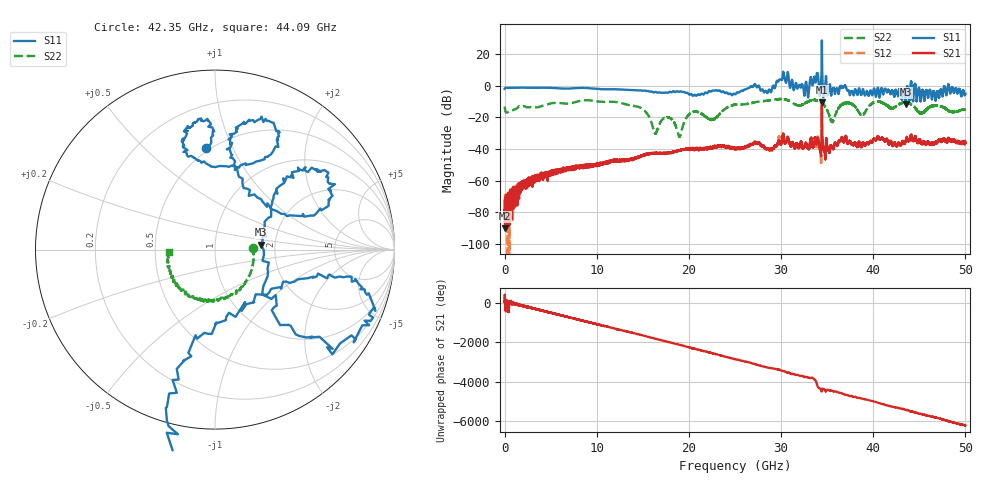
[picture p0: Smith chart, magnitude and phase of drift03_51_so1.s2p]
!Created with skrf (http://scikit-rf.org).
# Hz S RI R 50.0
!freq ReS11 ImS11 ReS21 ImS21 ReS12 ImS12 ReS22 ImS22
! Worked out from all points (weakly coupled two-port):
!   10000 points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, 5.3 MHz to 50 GHz, reference 50 ohm
!   highest |S21| = -10.58 dB at 34.43 GHz (marker M1); lowest = -90.1 dB at 65.3 MHz (marker M2)
!   lowest |S11| = -11.8 dB at 43.52 GHz (marker M3), VSWR 1.69, Z = 84.2 + j5.1 ohm
!   |S11| at or under -10 dB: 43.48549 GHz to 43.54343 GHz (57.94 MHz wide, 0.133 % of centre); 45.13375 GHz to 45.13771 GHz (3.964 MHz wide, 0.00878 % of centre)
!   |S22| runs from -32.5 to -8.4 dB; largest |S21 - S12| = 0.082
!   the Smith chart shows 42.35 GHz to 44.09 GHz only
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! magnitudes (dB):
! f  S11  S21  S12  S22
! 5.3 MHz  -2.1  -78.9  -76.7  -13.3
! 65.3 MHz  -1.5  -90.1  -73.1  -15.5
! 2.645 GHz  -1.4  -61.1  -59.0  -13.8
! 8.34 GHz  -1.5  -51.8  -51.3  -9.5
! 14.57 GHz  -3.1  -45.2  -45.2  -13.6
! 16.67 GHz  -4.4  -43.1  -42.9  -26.2
! 17.8 GHz  -4.2  -42.5  -42.5  -20.1
! 18.99 GHz  -3.9  -41.3  -41.1  -32.4
! 20.29 GHz  -5.6  -39.9  -39.6  -17.1
! 22.57 GHz  -3.1  -38.9  -39.0  -21.7
! 25.01 GHz  -5.5  -39.7  -39.6  -12.1
! 28.72 GHz  -2.5  -40.5  -40.6  -9.4
! 30.14 GHz  4.5  -33.8  -33.8  -8.5
! 32.74 GHz  2.0  -36.8  -36.6  -10.5
! 33.34 GHz  2.6  -35.1  -35.2  -9.4
! 34.43 GHz  28.5  -10.6  -12.8  -10.8
! 35.54 GHz  -3.1  -38.7  -39.1  -23.1
! 37 GHz  -0.2  -32.2  -32.0  -10.7
! 38.77 GHz  -5.1  -38.2  -38.0  -19.0
! 41.67 GHz  -2.9  -36.8  -36.8  -13.2
! 43.52 GHz  -11.8  -35.1  -35.4  -10.9
! 50 GHz  -5.2  -35.7  -35.8  -15.5
